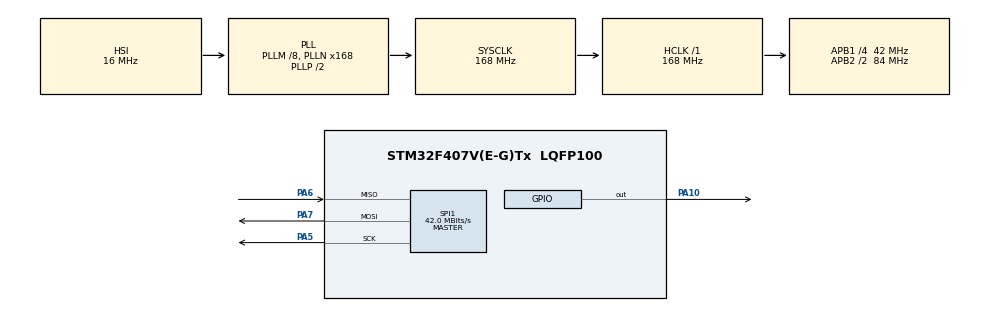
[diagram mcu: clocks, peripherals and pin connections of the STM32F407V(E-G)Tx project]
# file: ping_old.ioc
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Mcu.Family=STM32F4
PA6.Mode=Full_Duplex_Master
PH0-OSC_IN.Signal=RCC_OSC_IN
RCC.CortexFreq_Value=168000000
PA7.Mode=Full_Duplex_Master
SPI1.VirtualType=VM_MASTER
PA10.GPIO_PuPd=GPIO_PULLUP
RCC.APB1CLKDivider=RCC_HCLK_DIV4
RCC.SYSCLKSource=RCC_SYSCLKSOURCE_PLLCLK
ProjectManager.StackSize=0x400
PA13.Signal=SYS_JTMS-SWDIO
ProjectManager.TargetToolchain=STM32CubeIDE
SPI1.Direction=SPI_DIRECTION_2LINES
RCC.HCLKFreq_Value=168000000
RCC.APB2TimFreq_Value=168000000
SPI1.CalculateBaudRate=42.0 MBits/s
RCC.LSE_VALUE=32768
RCC.AHBFreq_Value=168000000
PH0-OSC_IN.Mode=HSE-External-Oscillator
PA5.Signal=SPI1_SCK
RCC.HSE_VALUE=25000000
PB3.Mode=Trace_Asynchronous_SW
board=custom
RCC.VCOOutputFreq_Value=336000000
RCC.APB2Freq_Value=84000000
SPI1.Mode=SPI_MODE_MASTER
PA14.Mode=Trace_Asynchronous_SW
PH1-OSC_OUT.Signal=RCC_OSC_OUT
PA13.Mode=Trace_Asynchronous_SW
Mcu.Name=STM32F407V(E-G)Tx
PH1-OSC_OUT.Mode=HSE-External-Oscillator
RCC.48MHZClocksFreq_Value=84000000
PB3.Signal=SYS_JTDO-SWO
RCC.SYSCLKFreq_VALUE=168000000
Mcu.Package=LQFP100
PA6.Signal=SPI1_MISO
PA10.Signal=GPIO_Output
PA14.Signal=SYS_JTCK-SWCLK
ProjectManager.HeapSize=0x200
RCC.HSI_VALUE=16000000
NVIC.PriorityGroup=NVIC_PRIORITYGROUP_4
RCC.APB2CLKDivider=RCC_HCLK_DIV2
RCC.PLLM=8
RCC.PLLN=168
RCC.APB1TimFreq_Value=84000000
RCC.APB1Freq_Value=42000000
SPI1.BaudRatePrescaler=SPI_BAUDRATEPRESCALER_2
PA7.Signal=SPI1_MOSI
PA5.Mode=Full_Duplex_Master

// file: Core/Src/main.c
/* USER CODE BEGIN Header */
/**
  ******************************************************************************
  * @file           : main.c
  * @brief          : Main program body
  ******************************************************************************
  * @attention
  *
  * <h2><center>&copy; Copyright (c) 2021 STMicroelectronics.
  * All rights reserved.</center></h2>
  *
  * This software component is licensed by ST under BSD 3-Clause license,
  * the "License"; You may not use this file except in compliance with the
  * License. You may obtain a copy of the License at:
  *                        opensource.org/licenses/BSD-3-Clause
  *
  ******************************************************************************
  */
/* USER CODE END Header */
#include "main.h"

/* USER CODE BEGIN Includes */
#include "socket.h"
#include "w5500.h"
#include "wizchip_conf.h"
#include "loopback.h"
/* USER CODE END Includes */

SPI_HandleTypeDef hspi1;

void SystemClock_Config(void);
static void MX_GPIO_Init(void);
static void MX_SPI1_Init(void);

/* USER CODE BEGIN 0 */
void cs_sel() {
	HAL_GPIO_WritePin(GPIOA, GPIO_PIN_10, GPIO_PIN_RESET); //CS LOW
}

void cs_desel() {
	HAL_GPIO_WritePin(GPIOA, GPIO_PIN_10, GPIO_PIN_SET); //CS HIGH
}

uint8_t spi_rb(void) {
	uint8_t rbuf;
	HAL_SPI_Receive(&hspi1, &rbuf, 1, 0xFFFFFFFF);
	return rbuf;
}

void spi_wb(uint8_t b) {
	HAL_SPI_Transmit(&hspi1, &b, 1, 0xFFFFFFFF);
}
/* USER CODE END 0 */

int main(void)
{
  /* USER CODE BEGIN 1 */

  uint8_t rcvBuf[20], bufSize[] = {2, 2, 2, 2};
  /* USER CODE END 1 */

  /* MCU Configuration--------------------------------------------------------*/

  /* Reset of all peripherals, Initializes the Flash interface and the Systick. */
  HAL_Init();

  /* Configure the system clock */
  SystemClock_Config();

  /* Initialize all configured peripherals */
  MX_GPIO_Init();
  MX_SPI1_Init();
  /* USER CODE BEGIN 2 */
  reg_wizchip_cs_cbfunc(cs_sel, cs_desel);
  reg_wizchip_spi_cbfunc(spi_rb, spi_wb);
  wizchip_init(bufSize, bufSize);
  wiz_NetInfo netInfo = { .mac 	= {0x00, 0x08, 0xdc, 0xab, 0xcd, 0xef},	    // Mac address
                            .ip 	= {192, 168, 18, 127},					// IP address
                            .sn 	= {255, 255, 255, 0},					// Subnet mask
                            .gw 	= {192, 168, 18, 1}};					// Gateway address
    wizchip_setnetinfo(&netInfo);
    wizchip_getnetinfo(&netInfo);
  /* USER CODE END 2 */

  /* Infinite loop */
  while (1)
  {

  }
}

void SystemClock_Config(void)
{
  RCC_OscInitTypeDef RCC_OscInitStruct = {0};
  RCC_ClkInitTypeDef RCC_ClkInitStruct = {0};

  /** Configure the main internal regulator output voltage
  */
  __HAL_RCC_PWR_CLK_ENABLE();
  __HAL_PWR_VOLTAGESCALING_CONFIG(PWR_REGULATOR_VOLTAGE_SCALE1);
  /** Initializes the RCC Oscillators according to the specified parameters
  * in the RCC_OscInitTypeDef structure.
  */
  RCC_OscInitStruct.OscillatorType = RCC_OSCILLATORTYPE_HSI;
  RCC_OscInitStruct.HSIState = RCC_HSI_ON;
  RCC_OscInitStruct.HSICalibrationValue = RCC_HSICALIBRATION_DEFAULT;
  RCC_OscInitStruct.PLL.PLLState = RCC_PLL_ON;
  RCC_OscInitStruct.PLL.PLLSource = RCC_PLLSOURCE_HSI;
  RCC_OscInitStruct.PLL.PLLM = 8;
  RCC_OscInitStruct.PLL.PLLN = 168;
  RCC_OscInitStruct.PLL.PLLP = RCC_PLLP_DIV2;
  RCC_OscInitStruct.PLL.PLLQ = 4;
  if (HAL_RCC_OscConfig(&RCC_OscInitStruct) != HAL_OK)
  {
    Error_Handler();
  }
  /** Initializes the CPU, AHB and APB buses clocks
  */
  RCC_ClkInitStruct.ClockType = RCC_CLOCKTYPE_HCLK|RCC_CLOCKTYPE_SYSCLK
                              |RCC_CLOCKTYPE_PCLK1|RCC_CLOCKTYPE_PCLK2;
  RCC_ClkInitStruct.SYSCLKSource = RCC_SYSCLKSOURCE_PLLCLK;
  RCC_ClkInitStruct.AHBCLKDivider = RCC_SYSCLK_DIV1;
  RCC_ClkInitStruct.APB1CLKDivider = RCC_HCLK_DIV4;
  RCC_ClkInitStruct.APB2CLKDivider = RCC_HCLK_DIV2;

  if (HAL_RCC_ClockConfig(&RCC_ClkInitStruct, FLASH_LATENCY_5) != HAL_OK)
  {
    Error_Handler();
  }
}

static void MX_SPI1_Init(void)
{

  /* SPI1 parameter configuration*/
  hspi1.Instance = SPI1;
  hspi1.Init.Mode = SPI_MODE_MASTER;
  hspi1.Init.Direction = SPI_DIRECTION_2LINES;
  hspi1.Init.DataSize = SPI_DATASIZE_8BIT;
  hspi1.Init.CLKPolarity = SPI_POLARITY_LOW;
  hspi1.Init.CLKPhase = SPI_PHASE_1EDGE;
  hspi1.Init.NSS = SPI_NSS_SOFT;
  hspi1.Init.BaudRatePrescaler = SPI_BAUDRATEPRESCALER_2;
  hspi1.Init.FirstBit = SPI_FIRSTBIT_MSB;
  hspi1.Init.TIMode = SPI_TIMODE_DISABLE;
  hspi1.Init.CRCCalculation = SPI_CRCCALCULATION_DISABLE;
  hspi1.Init.CRCPolynomial = 10;
  if (HAL_SPI_Init(&hspi1) != HAL_OK)
  {
    Error_Handler();
  }

}

static void MX_GPIO_Init(void)
{
  GPIO_InitTypeDef GPIO_InitStruct = {0};

  /* GPIO Ports Clock Enable */
  __HAL_RCC_GPIOH_CLK_ENABLE();
  __HAL_RCC_GPIOA_CLK_ENABLE();
  __HAL_RCC_GPIOB_CLK_ENABLE();

  /*Configure GPIO pin Output Level */
  HAL_GPIO_WritePin(GPIOA, GPIO_PIN_10, GPIO_PIN_RESET);

  /*Configure GPIO pin : PA10 */
  GPIO_InitStruct.Pin = GPIO_PIN_10;
  GPIO_InitStruct.Mode = GPIO_MODE_OUTPUT_PP;
  GPIO_InitStruct.Pull = GPIO_PULLUP;
  GPIO_InitStruct.Speed = GPIO_SPEED_FREQ_LOW;
  HAL_GPIO_Init(GPIOA, &GPIO_InitStruct);

}

void Error_Handler(void)
{
  __disable_irq();
  while (1)
  {
  }
}

/************************ (C) COPYRIGHT STMicroelectronics *****END OF FILE****/
